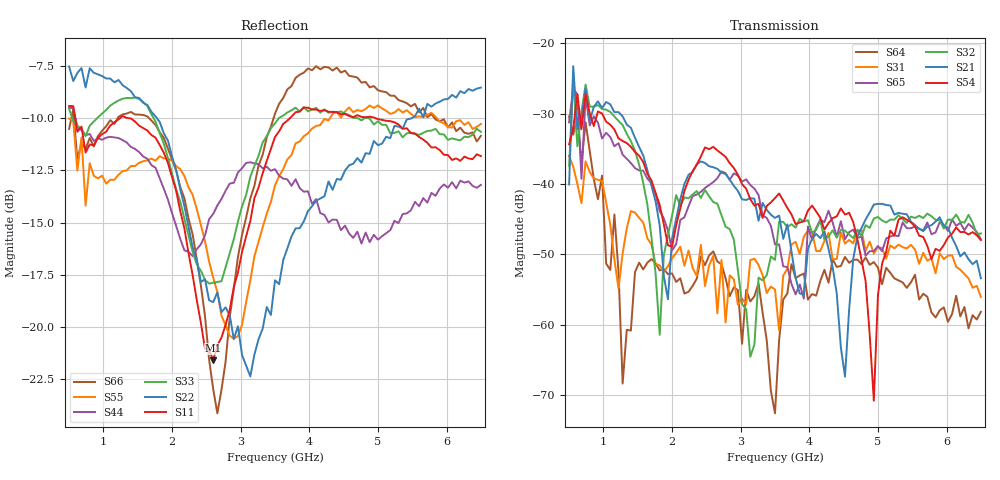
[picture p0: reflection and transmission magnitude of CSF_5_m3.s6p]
!Keysight Technologies,M9804A,MY58100912,A.14.10.03
!Date: Thursday, April 27, 2023 10:28:33
!Correction: S11(C  6-Port  )
!S12(C  6-Port  )
!S13(C  6-Port  )
!S14(C  6-Port  )
!S15(C  6-Port  )
!S16(C  6-Port  )
!S21(C  6-Port  )
!S22(C  6-Port  )
!S23(C  6-Port  )
!S24(C  6-Port  )
!S25(C  6-Port  )
!S26(C  6-Port  )
!S31(C  6-Port  )
!S32(C  6-Port  )
!S33(C  6-Port  )
!S34(C  6-Port  )
!S35(C  6-Port  )
!S36(C  6-Port  )
!S41(C  6-Port  )
!S42(C  6-Port  )
!S43(C  6-Port  )
!S44(C  6-Port  )
!S45(C  6-Port  )
!S46(C  6-Port  )
!S51(C  6-Port  )
!S52(C  6-Port  )
!S53(C  6-Port  )
!S54(C  6-Port  )
!S55(C  6-Port  )
!S56(C  6-Port  )
!S61(C  6-Port  )
!S62(C  6-Port  )
!S63(C  6-Port  )
!S64(C  6-Port  )
!S65(C  6-Port  )
!S66(C  6-Port  )
!S6P File: Measurement: :
# Hz S  RI  R 50
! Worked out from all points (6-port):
!   101 points, 500 MHz to 6.5 GHz, reference 50 ohm
!   strongest paths, dB at 500 MHz, 2 GHz, 3.5 GHz, 5 GHz, 6.5 GHz:
!     S54: -34.4, -48.9, -42.0, -55.8, -48.0
!     S21: -40.1, -47.8, -44.8, -42.8, -53.4
!     S32: -37.5, -44.5, -50.8, -44.7, -47.0
!     S65: -31.2, -49.4, -48.6, -48.8, -47.9
!     S31: -36.0, -50.6, -55.0, -49.0, -56.0
!     S64: -30.4, -52.7, -72.6, -51.9, -58.2
!   lowest |S11| = -21.6 dB at 2.6 GHz (marker M1), VSWR 1.18, Z = 42.6 + j2.03 ohm
!   |S11| at or under -10 dB: 588.5 MHz to 1.238 GHz (649.3 MHz wide, 71.1 % of centre); 1.386 GHz to 3.715 GHz (2.329 GHz wide, 91.3 % of centre); 4.969 GHz to end of sweep
